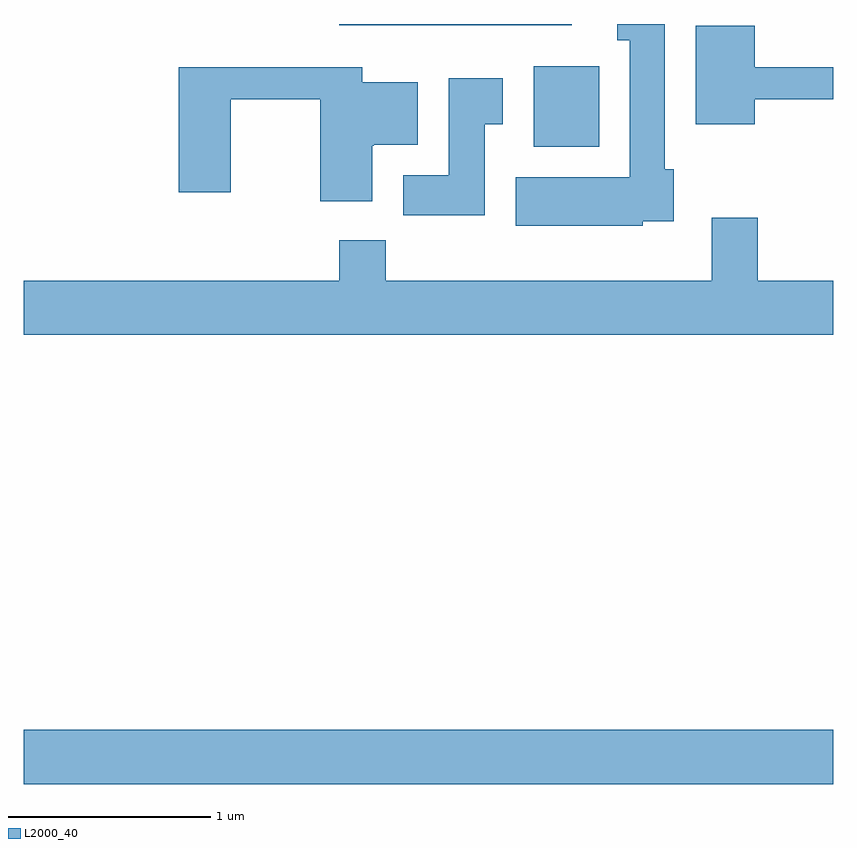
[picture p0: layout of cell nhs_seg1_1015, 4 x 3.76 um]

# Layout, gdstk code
import gdstk
lib = gdstk.Library(unit=1e-6, precision=1e-09)
def R(c, l, rs):  # rectangles x0, y0, x1, y1
    for r in rs: c.add(gdstk.rectangle(r[:2], r[2:], *l))
def P(c, l, *ps):  # polygons
    for p in ps: c.add(gdstk.Polygon(p, *l))
L2000_40 = (2000, 40)

nhs_seg1_1015 = lib.new_cell('nhs_seg1_1015')
R(nhs_seg1_1015, L2000_40, [(215.611,963.956,219.611,964.224), (218.131,967.106,218.454,967.504), (217.171,967.706,218.319,967.712)])
P(nhs_seg1_1015, L2000_40, [(218.669,966.736),(218.824,966.736),(218.824,966.994),(218.779,966.994),(218.779,967.712),(218.543,967.712),(218.543,967.631),(218.606,967.631),(218.606,966.954),(218.041,966.954),(218.041,966.716),(218.669,966.716)],
  [(219.224,967.341),(219.611,967.341),(219.611,967.499),(219.224,967.499),(219.224,967.704),(218.931,967.704),(218.931,967.216),(219.224,967.216)],
  [(217.334,967.11),(217.34,967.11),(217.34,967.116),(217.559,967.116),(217.559,967.424),(217.284,967.424),(217.284,967.499),(216.376,967.499),(216.376,966.881),(216.634,966.881),(216.634,967.341),(217.076,967.341),(217.076,966.836),(217.334,966.836)],
  [(217.889,967.216),(217.979,967.216),(217.979,967.444),(217.711,967.444),(217.711,966.964),(217.486,966.964),(217.486,966.766),(217.889,966.766)],
  [(219.611,966.444),(219.239,966.444),(219.239,966.754),(219.011,966.754),(219.011,966.444),(217.399,966.444),(217.399,966.644),(217.171,966.644),(217.171,966.444),(215.611,966.444),(215.611,966.176),(219.611,966.176)])

lib.write_gds('nhs_seg1_1015.gds')
